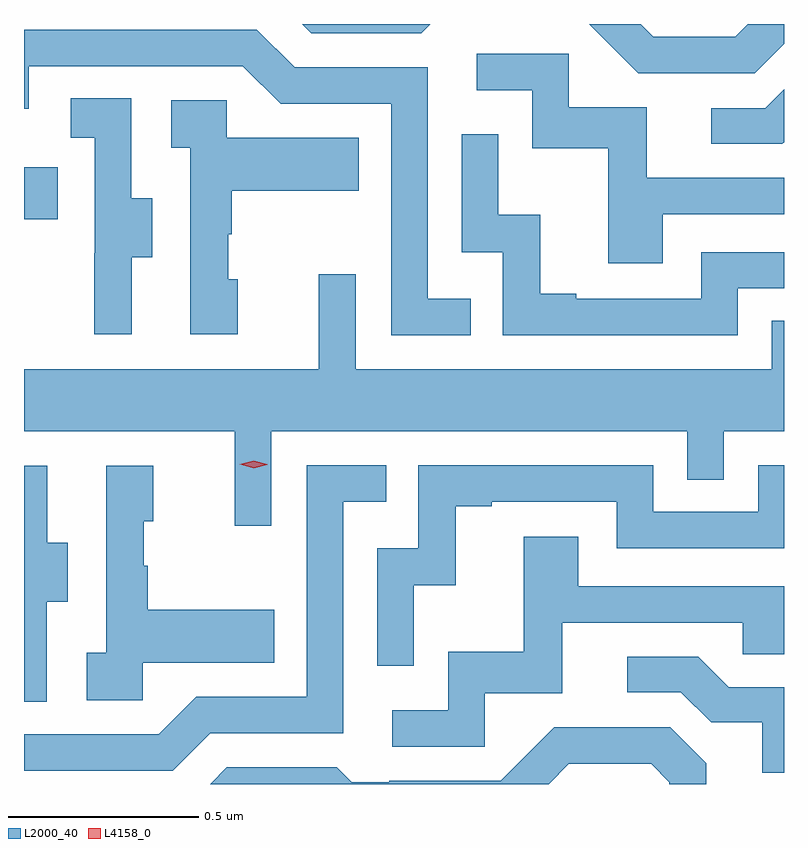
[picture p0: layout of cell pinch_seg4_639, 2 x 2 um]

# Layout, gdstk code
import gdstk
lib = gdstk.Library(unit=1e-6, precision=1e-09)
def R(c, l, rs):  # rectangles x0, y0, x1, y1
    for r in rs: c.add(gdstk.rectangle(r[:2], r[2:], *l))
def P(c, l, *ps):  # polygons
    for p in ps: c.add(gdstk.Polygon(p, *l))
L2000_40 = (2000, 40)
L4158_0 = (4158, 0)

pinch_seg4_639 = lib.new_cell('pinch_seg4_639')
R(pinch_seg4_639, L2000_40, [(1030.224,764.078,1030.313,764.215)])
P(pinch_seg4_639, L2000_40, [(1031.293,764.592),(1030.956,764.592),(1030.98,764.568),(1031.269,764.568)],
  [(1032.224,764.54),(1032.224,764.592),(1032.129,764.592),(1032.096,764.559),(1031.88,764.559),(1031.847,764.592),(1031.712,764.592),(1031.841,764.463),(1032.147,764.463)],
  [(1031.399,763.869),(1031.286,763.869),(1031.286,764.478),(1030.936,764.478),(1030.837,764.577),(1030.224,764.577),(1030.224,764.369),(1030.236,764.369),(1030.236,764.481),(1030.8,764.481),(1030.899,764.382),(1031.19,764.382),(1031.19,763.773),(1031.399,763.773)],
  [(1031.905,764.091),(1032.224,764.091),(1032.224,764.187),(1031.863,764.187),(1031.863,764.373),(1031.658,764.373),(1031.658,764.514),(1031.415,764.514),(1031.415,764.418),(1031.562,764.418),(1031.562,764.265),(1031.761,764.265),(1031.761,763.962),(1031.905,763.962)],
  [(1032.224,764.281),(1032.224,764.42),(1032.174,764.37),(1032.033,764.37),(1032.033,764.277),(1032.22,764.277)],
  [(1030.507,763.978),(1030.561,763.978),(1030.561,764.133),(1030.506,764.133),(1030.506,764.396),(1030.347,764.396),(1030.347,764.293),(1030.41,764.293),(1030.41,763.989),(1030.409,763.989),(1030.409,763.776),(1030.507,763.776)],
  [(1030.786,763.92),(1030.761,763.92),(1030.761,764.039),(1030.771,764.039),(1030.771,764.153),(1031.105,764.153),(1031.105,764.293),(1030.758,764.293),(1030.758,764.391),(1030.611,764.391),(1030.611,764.267),(1030.662,764.267),(1030.662,763.776),(1030.786,763.776)],
  [(1032.102,763.896),(1032.224,763.896),(1032.224,763.992),(1032.006,763.992),(1032.006,763.869),(1031.677,763.869),(1031.677,763.882),(1031.582,763.882),(1031.582,764.09),(1031.472,764.09),(1031.472,764.302),(1031.376,764.302),(1031.376,763.992),(1031.484,763.992),(1031.484,763.773),(1032.102,763.773)],
  [(1030.875,763.52),(1031.97,763.52),(1031.97,763.393),(1032.066,763.393),(1032.066,763.52),(1032.224,763.52),(1032.224,763.811),(1032.192,763.811),(1032.192,763.684),(1031.097,763.684),(1031.097,763.933),(1031,763.933),(1031,763.684),(1030.224,763.684),(1030.224,763.52),(1030.778,763.52),(1030.778,763.272),(1030.875,763.272)],
  [(1031.25,763.115),(1031.36,763.115),(1031.36,763.323),(1031.455,763.323),(1031.455,763.335),(1031.784,763.335),(1031.784,763.212),(1032.224,763.212),(1032.224,763.431),(1032.156,763.431),(1032.156,763.308),(1031.88,763.308),(1031.88,763.431),(1031.262,763.431),(1031.262,763.212),(1031.154,763.212),(1031.154,762.903),(1031.25,762.903)],
  [(1030.714,762.726),(1031.064,762.726),(1031.064,763.335),(1031.177,763.335),(1031.177,763.431),(1030.968,763.431),(1030.968,762.822),(1030.677,762.822),(1030.578,762.723),(1030.224,762.723),(1030.224,762.627),(1030.615,762.627)],
  [(1030.536,762.911),(1030.883,762.911),(1030.883,763.051),(1030.549,763.051),(1030.549,763.166),(1030.539,763.166),(1030.539,763.284),(1030.564,763.284),(1030.564,763.429),(1030.44,763.429),(1030.44,762.938),(1030.389,762.938),(1030.389,762.813),(1030.536,762.813)],
  [(1030.284,763.072),(1030.339,763.072),(1030.339,763.227),(1030.285,763.227),(1030.285,763.429),(1030.224,763.429),(1030.224,762.808),(1030.284,762.808)],
  [(1031.436,762.831),(1031.641,762.831),(1031.641,763.017),(1032.115,763.017),(1032.115,762.933),(1032.224,762.933),(1032.224,763.113),(1031.683,763.113),(1031.683,763.243),(1031.539,763.243),(1031.539,762.94),(1031.34,762.94),(1031.34,762.786),(1031.193,762.786),(1031.193,762.69),(1031.436,762.69)],
  [(1032.224,762.846),(1032.079,762.846),(1031.998,762.927),(1031.811,762.927),(1031.811,762.834),(1031.952,762.834),(1032.032,762.754),(1032.167,762.754),(1032.167,762.622),(1032.224,762.622)],
  [(1031.658,762.645),(1031.874,762.645),(1031.922,762.597),(1031.922,762.592),(1032.019,762.592),(1032.019,762.647),(1031.925,762.741),(1031.619,762.741),(1031.478,762.6),(1031.185,762.6),(1031.185,762.597),(1031.086,762.597),(1031.047,762.636),(1030.758,762.636),(1030.714,762.592),(1031.605,762.592)])
P(pinch_seg4_639, L4158_0, [(1030.828,763.423),(1030.792,763.433),(1030.792,763.433),(1030.792,763.433),(1030.828,763.443),(1030.864,763.433),(1030.864,763.432),(1030.864,763.432)])

lib.write_gds('pinch_seg4_639.gds')
